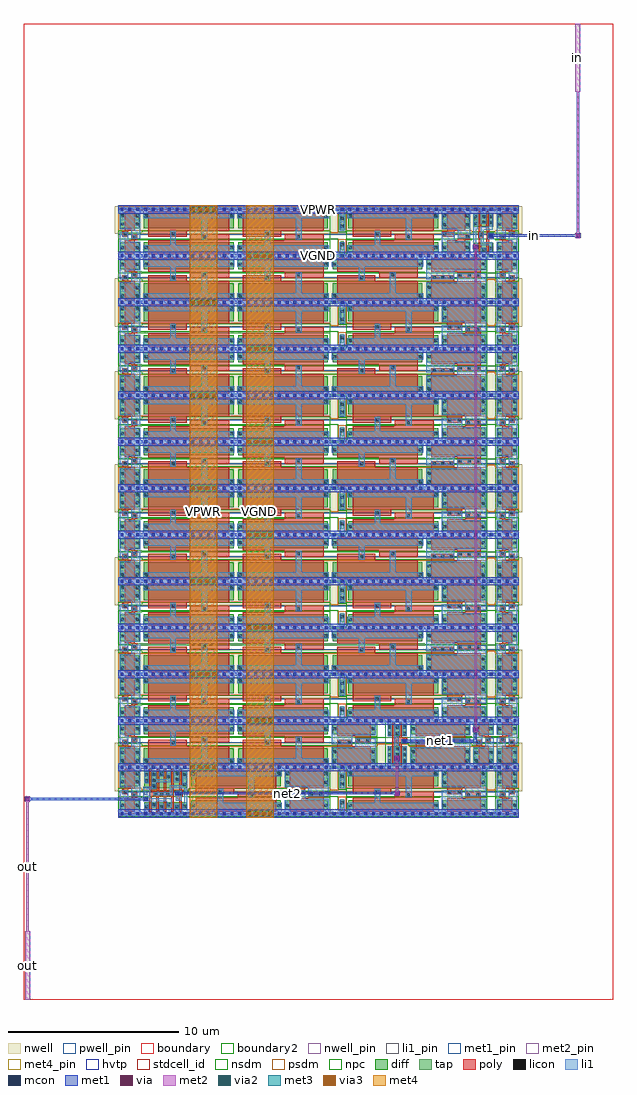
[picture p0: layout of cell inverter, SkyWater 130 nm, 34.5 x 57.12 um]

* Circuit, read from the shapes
.subckt inverter VGND VPWR in net1 net2 out
XM1 VGND VPWR VGND VGND sky130_fd_pr__nfet_01v8 w=0.55 l=0.59 m=27
XM2 VGND VPWR VGND VGND sky130_fd_pr__nfet_01v8 w=0.55 l=4.73 m=37
XM3 out n1 VGND VGND sky130_fd_pr__nfet_01v8 w=0.42 l=0.15 m=4
XM4 n1 net2 VGND VGND sky130_fd_pr__nfet_01v8 w=0.42 l=0.15
XM5 VGND VPWR VGND VGND sky130_fd_pr__nfet_01v8 w=0.55 l=1.97 m=8
XM6 net2 net1 VGND VGND sky130_fd_pr__nfet_01v8 w=0.65 l=0.15 m=2
XM7 VGND VPWR VGND VGND sky130_fd_pr__nfet_01v8 w=0.55 l=2.89 m=6
XM8 VGND VPWR VGND VGND sky130_fd_pr__nfet_01v8 w=0.55 l=1.05
XM9 VGND n2 net1 VGND sky130_fd_pr__nfet_01v8 w=0.52 l=0.15
XM10 n2 in VGND VGND sky130_fd_pr__nfet_01v8 w=0.52 l=0.15
XM11 VPWR VGND VPWR VPWR sky130_fd_pr__pfet_01v8_hvt w=0.87 l=0.59 m=27
XM12 VPWR VGND VPWR VPWR sky130_fd_pr__pfet_01v8_hvt w=0.87 l=4.73 m=37
XM13 out n1 VPWR VPWR sky130_fd_pr__pfet_01v8_hvt w=1 l=0.15 m=4
XM14 n1 net2 VPWR VPWR sky130_fd_pr__pfet_01v8_hvt w=1 l=0.15
XM15 VPWR VGND VPWR VPWR sky130_fd_pr__pfet_01v8_hvt w=0.87 l=1.97 m=8
XM16 net2 net1 VPWR VPWR sky130_fd_pr__pfet_01v8_hvt w=1 l=0.15 m=2
XM17 VPWR VGND VPWR VPWR sky130_fd_pr__pfet_01v8_hvt w=0.87 l=2.89 m=6
XM18 VPWR VGND VPWR VPWR sky130_fd_pr__pfet_01v8_hvt w=0.87 l=1.05
XM19 VPWR n2 net1 VPWR sky130_fd_pr__pfet_01v8_hvt w=0.79 l=0.15
XM20 n2 in VPWR VPWR sky130_fd_pr__pfet_01v8_hvt w=0.79 l=0.15
.ends

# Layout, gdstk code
from math import pi, radians
import gdstk
lib = gdstk.Library(unit=1e-6, precision=1e-09)
def R(c, l, rs):  # rectangles x0, y0, x1, y1
    for r in rs: c.add(gdstk.rectangle(r[:2], r[2:], *l))
def A(c, l, x, y, w, h, nx, ny, dx, dy):  # array of equal rectangles
    R(c, l, [(x+i*dx, y+j*dy, x+i*dx+w, y+j*dy+h) for i in range(nx) for j in range(ny)])
def P(c, l, *ps):  # polygons
    for p in ps: c.add(gdstk.Polygon(p, *l))
nwell_pin = (64, 16)
nwell = (64, 20)
diff = (65, 20)
tap = (65, 44)
poly = (66, 20)
licon = (66, 44)
li1_pin = (67, 16)
li1 = (67, 20)
mcon = (67, 44)
met1_pin = (68, 16)
met1 = (68, 20)
via = (68, 44)
met2_pin = (69, 16)
met2 = (69, 20)
via2 = (69, 44)
met3 = (70, 20)
via3 = (70, 44)
met4_pin = (71, 16)
met4 = (71, 20)
hvtp = (78, 44)
stdcell_id = (81, 4)
nsdm = (93, 44)
psdm = (94, 20)
npc = (95, 20)
pwell_pin = (122, 16)
boundary = (235, 4)
boundary2 = (236, 0)

sky130_ef_sc_hd__decap_1 = lib.new_cell('sky130_ef_sc_hd__decap_12')
R(sky130_ef_sc_hd__decap_1, nwell_pin, [(0.145,2.635,0.315,2.805)])
R(sky130_ef_sc_hd__decap_1, nwell, [(-0.19,1.305,5.71,2.91)])
R(sky130_ef_sc_hd__decap_1, diff, [(0.135,0.235,5.385,0.785), (0.135,1.615,5.385,2.485)])
P(sky130_ef_sc_hd__decap_1, poly, [(5.125,2.615),(0.395,2.615),(0.395,1.125),(2.645,1.125),(2.645,1.485),(5.125,1.485)],
  [(5.125,1.275),(2.855,1.275),(2.855,0.915),(0.395,0.915),(0.395,0.105),(5.125,0.105)])
R(sky130_ef_sc_hd__decap_1, licon, [(0.175,0.39,0.345,0.56), (5.175,0.39,5.345,0.56), (3.575,1.025,3.745,1.195), (1.755,1.205,1.925,1.375), (0.175,2.255,0.345,2.425), (5.175,2.255,5.345,2.425)])
R(sky130_ef_sc_hd__decap_1, li1, [(0,-0.085,5.52,0.085), (0.085,0.085,5.43,0.63), (1.67,0.63,2.01,1.46), (3.49,0.95,3.84,2.2), (0.085,2.2,5.43,2.635), (0,2.635,5.52,2.805)])
A(sky130_ef_sc_hd__decap_1, mcon, 0.145, -0.085, 0.17, 0.17, 12, 2, 0.46, 2.72)
R(sky130_ef_sc_hd__decap_1, met1_pin, [(0.145,-0.085,0.315,0.085), (0.145,2.635,0.315,2.805)])
R(sky130_ef_sc_hd__decap_1, hvtp, [(0,1.25,5.52,2.72)])
R(sky130_ef_sc_hd__decap_1, stdcell_id, [(0,0,5.52,2.72)])
R(sky130_ef_sc_hd__decap_1, nsdm, [(0,-0.19,5.52,1.015)])
R(sky130_ef_sc_hd__decap_1, psdm, [(0,1.485,5.52,2.91)])
R(sky130_ef_sc_hd__decap_1, npc, [(0,0.925,5.52,1.475)])
R(sky130_ef_sc_hd__decap_1, pwell_pin, [(0.145,-0.085,0.315,0.085)])
R(sky130_ef_sc_hd__decap_1, boundary2, [(0,0,5.52,2.72)])
sky130_ef_sc_hd__decap_1.add(gdstk.FlexPath([(0,2.72),(5.52,2.72)], 0.48, ends="flush", simple_path=True, layer=68, datatype=20))  # met1
sky130_ef_sc_hd__decap_1.add(gdstk.FlexPath([(0,0),(5.52,0)], 0.48, ends="flush", simple_path=True, layer=68, datatype=20))  # met1
sky130_ef_sc_hd__decap_1.add(gdstk.Label('VGND', (0.23,0), layer=68, texttype=5))
sky130_ef_sc_hd__decap_1.add(gdstk.Label('VPWR', (0.23,2.72), layer=68, texttype=5))
sky130_ef_sc_hd__decap_1.add(gdstk.Label('VPB', (0.23,2.72), layer=64, texttype=5))
sky130_ef_sc_hd__decap_1.add(gdstk.Label('VNB', (0.23,0), layer=64, texttype=59))
sky130_ef_sc_hd__decap_1.add(gdstk.Label('decap_12', (0,0), layer=83, texttype=44))

sky130_fd_sc_hd__decap_3 = lib.new_cell('sky130_fd_sc_hd__decap_3')
R(sky130_fd_sc_hd__decap_3, nwell_pin, [(0.145,2.635,0.315,2.805)])
R(sky130_fd_sc_hd__decap_3, nwell, [(-0.19,1.305,1.57,2.91)])
R(sky130_fd_sc_hd__decap_3, diff, [(0.135,0.235,1.245,0.785), (0.135,1.615,1.245,2.485)])
P(sky130_fd_sc_hd__decap_3, poly, [(1.125,1.255),(0.795,1.255),(0.795,0.915),(0.395,0.915),(0.395,0.105),(0.985,0.105),(0.985,0.925),(1.125,0.925)],
  [(0.985,2.615),(0.395,2.615),(0.395,1.455),(0.255,1.455),(0.255,1.125),(0.585,1.125),(0.585,1.465),(0.985,1.465)])
R(sky130_fd_sc_hd__decap_3, licon, [(0.175,0.4,0.345,0.57), (1.035,0.4,1.205,0.57), (0.875,1.005,1.045,1.175), (0.335,1.205,0.505,1.375), (0.175,1.78,0.345,1.95), (1.035,1.78,1.205,1.95), (0.175,2.255,0.345,2.425), (1.035,2.255,1.205,2.425)])
P(sky130_fd_sc_hd__decap_3, li1, [(1.38,2.805),(0,2.805),(0,2.635),(0.085,2.635),(0.085,1.545),(0.775,1.545),(0.775,1.005),(1.295,1.005),(1.295,2.635),(1.38,2.635)],
  [(1.38,0.085),(1.295,0.085),(1.295,0.835),(0.605,0.835),(0.605,1.375),(0.085,1.375),(0.085,0.085),(0,0.085),(0,-0.085),(1.38,-0.085)])
A(sky130_fd_sc_hd__decap_3, mcon, 0.145, -0.085, 0.17, 0.17, 3, 2, 0.46, 2.72)
R(sky130_fd_sc_hd__decap_3, met1_pin, [(0.145,-0.085,0.315,0.085), (0.145,2.635,0.315,2.805)])
R(sky130_fd_sc_hd__decap_3, hvtp, [(0,1.25,1.38,2.72)])
R(sky130_fd_sc_hd__decap_3, stdcell_id, [(0,0,1.38,2.72)])
R(sky130_fd_sc_hd__decap_3, nsdm, [(0,-0.19,1.38,1.015)])
R(sky130_fd_sc_hd__decap_3, psdm, [(0,1.485,1.38,2.91)])
P(sky130_fd_sc_hd__decap_3, npc, [(1.38,1.345),(0.605,1.345),(0.605,1.475),(0,1.475),(0,0.975),(0.775,0.975),(0.775,0.905),(1.38,0.905)])
R(sky130_fd_sc_hd__decap_3, pwell_pin, [(0.145,-0.085,0.315,0.085)])
R(sky130_fd_sc_hd__decap_3, boundary2, [(0,0,1.38,2.72)])
sky130_fd_sc_hd__decap_3.add(gdstk.FlexPath([(0,2.72),(1.38,2.72)], 0.48, ends="flush", simple_path=True, layer=68, datatype=20))  # met1
sky130_fd_sc_hd__decap_3.add(gdstk.FlexPath([(0,0),(1.38,0)], 0.48, ends="flush", simple_path=True, layer=68, datatype=20))  # met1
sky130_fd_sc_hd__decap_3.add(gdstk.Label('VPWR', (0.23,2.72), layer=68, texttype=5))
sky130_fd_sc_hd__decap_3.add(gdstk.Label('VGND', (0.23,0), layer=68, texttype=5))
sky130_fd_sc_hd__decap_3.add(gdstk.Label('VPB', (0.23,2.72), layer=64, texttype=5))
sky130_fd_sc_hd__decap_3.add(gdstk.Label('VNB', (0.23,0), layer=64, texttype=59))
sky130_fd_sc_hd__decap_3.add(gdstk.Label('decap_3', (0,0), layer=83, texttype=44))

sky130_fd_sc_hd__clkbuf_ = lib.new_cell('sky130_fd_sc_hd__clkbuf_4')
R(sky130_fd_sc_hd__clkbuf_, nwell_pin, [(0.145,2.635,0.315,2.805)])
R(sky130_fd_sc_hd__clkbuf_, nwell, [(-0.19,1.305,2.95,2.91)])
R(sky130_fd_sc_hd__clkbuf_, diff, [(0.135,0.235,2.615,0.655), (0.135,1.485,2.62,2.485)])
P(sky130_fd_sc_hd__clkbuf_, poly, [(2.325,1.185),(2.32,1.185),(2.32,2.615),(2.17,2.615),(2.17,1.295),(1.89,1.295),(1.89,2.615),(1.74,2.615),(1.74,1.295),(1.46,1.295),(1.46,2.615),(1.31,2.615),(1.31,1.295),(1.03,1.295),(1.03,2.615),(0.88,2.615),(0.88,1.05),(0.885,1.05),(0.885,0.105),(1.035,0.105),(1.035,1.02),(1.315,1.02),(1.315,0.105),(1.465,0.105),(1.465,1.02),(1.745,1.02),(1.745,0.105),(1.895,0.105),(1.895,1.02),(2.175,1.02),(2.175,0.105),(2.325,0.105)],
  [(0.645,1.325),(0.55,1.325),(0.55,2.615),(0.4,2.615),(0.4,1.325),(0.345,1.325),(0.345,0.995),(0.4,0.995),(0.4,0.105),(0.55,0.105),(0.55,0.995),(0.645,0.995)])
A(sky130_fd_sc_hd__clkbuf_, licon, 1.155, 1.075, 0.17, 0.17, 3, 1, 0.34, 0)
A(sky130_fd_sc_hd__clkbuf_, licon, 1.945, 1.535, 0.17, 0.17, 1, 3, 0, 0.34)
R(sky130_fd_sc_hd__clkbuf_, licon, [(0.605,0.315,0.775,0.485), (1.52,0.315,1.69,0.485), (2.38,0.315,2.55,0.485), (0.175,0.335,0.345,0.505), (1.09,0.425,1.26,0.595), (1.95,0.425,2.12,0.595), (0.425,1.075,0.595,1.245), (0.175,1.605,0.345,1.775), (2.375,1.845,2.545,2.015), (0.605,1.915,0.775,2.085), (1.085,2.08,1.255,2.25), (2.375,2.185,2.545,2.355), (0.175,2.215,0.345,2.385), (0.605,2.255,0.775,2.425), (1.515,2.255,1.685,2.425)])
R(sky130_fd_sc_hd__clkbuf_, li1_pin, [(0.605,0.765,0.775,0.935), (2.445,0.765,2.615,0.935), (0.605,1.105,0.775,1.275), (2.445,1.105,2.615,1.275), (1.985,1.445,2.155,1.615)])
R(sky130_fd_sc_hd__clkbuf_, li1, [(0.425,0.755,0.775,1.325)])
P(sky130_fd_sc_hd__clkbuf_, li1, [(2.76,0.085),(2.615,0.085),(2.615,0.565),(2.335,0.565),(2.335,0.085),(1.73,0.085),(1.73,0.565),(1.475,0.565),(1.475,0.085),(0.83,0.085),(0.83,0.565),(0.555,0.565),(0.555,0.085),(0,0.085),(0,-0.085),(2.76,-0.085)],
  [(2.66,1.585),(2.165,1.585),(2.165,2.465),(1.905,2.465),(1.905,2.005),(1.305,2.005),(1.305,2.465),(1.045,2.465),(1.045,1.835),(1.905,1.835),(1.905,1.415),(2.255,1.415),(2.255,0.905),(1.01,0.905),(1.01,0.345),(1.305,0.345),(1.305,0.735),(1.905,0.735),(1.905,0.345),(2.165,0.345),(2.165,0.735),(2.66,0.735)],
  [(2.085,1.245),(1.115,1.245),(1.115,1.665),(0.395,1.665),(0.395,2.465),(0.085,2.465),(0.085,0.255),(0.385,0.255),(0.385,0.585),(0.255,0.585),(0.255,1.495),(0.945,1.495),(0.945,1.075),(2.085,1.075)],
  [(2.76,2.805),(0,2.805),(0,2.635),(0.565,2.635),(0.565,1.835),(0.875,1.835),(0.875,2.635),(1.475,2.635),(1.475,2.175),(1.73,2.175),(1.73,2.635),(2.335,2.635),(2.335,1.765),(2.62,1.765),(2.62,2.635),(2.76,2.635)])
A(sky130_fd_sc_hd__clkbuf_, mcon, 0.145, -0.085, 0.17, 0.17, 6, 2, 0.46, 2.72)
R(sky130_fd_sc_hd__clkbuf_, met1_pin, [(0.145,-0.085,0.315,0.085), (0.145,2.635,0.315,2.805)])
R(sky130_fd_sc_hd__clkbuf_, hvtp, [(0,1.25,2.76,2.72)])
R(sky130_fd_sc_hd__clkbuf_, stdcell_id, [(0,0,2.76,2.72)])
R(sky130_fd_sc_hd__clkbuf_, nsdm, [(0,-0.19,2.76,1.015)])
R(sky130_fd_sc_hd__clkbuf_, psdm, [(0,1.355,2.76,2.91)])
R(sky130_fd_sc_hd__clkbuf_, npc, [(0,0.975,2.76,1.345)])
R(sky130_fd_sc_hd__clkbuf_, pwell_pin, [(0.145,-0.085,0.315,0.085)])
R(sky130_fd_sc_hd__clkbuf_, boundary2, [(0,0,2.76,2.72)])
sky130_fd_sc_hd__clkbuf_.add(gdstk.FlexPath([(0,0),(2.76,0)], 0.48, ends="flush", simple_path=True, layer=68, datatype=20))  # met1
sky130_fd_sc_hd__clkbuf_.add(gdstk.FlexPath([(0,2.72),(2.76,2.72)], 0.48, ends="flush", simple_path=True, layer=68, datatype=20))  # met1
sky130_fd_sc_hd__clkbuf_.add(gdstk.Label('X', (2.07,1.53), layer=67, texttype=5))
sky130_fd_sc_hd__clkbuf_.add(gdstk.Label('A', (0.69,0.85), layer=67, texttype=5))
sky130_fd_sc_hd__clkbuf_.add(gdstk.Label('X', (2.53,0.85), layer=67, texttype=5))
sky130_fd_sc_hd__clkbuf_.add(gdstk.Label('A', (0.69,1.19), layer=67, texttype=5))
sky130_fd_sc_hd__clkbuf_.add(gdstk.Label('X', (2.53,1.19), layer=67, texttype=5))
sky130_fd_sc_hd__clkbuf_.add(gdstk.Label('VGND', (0.23,0), layer=68, texttype=5))
sky130_fd_sc_hd__clkbuf_.add(gdstk.Label('VPWR', (0.23,2.72), layer=68, texttype=5))
sky130_fd_sc_hd__clkbuf_.add(gdstk.Label('VPB', (0.23,2.72), layer=64, texttype=5))
sky130_fd_sc_hd__clkbuf_.add(gdstk.Label('VNB', (0.23,0), layer=64, texttype=59))
sky130_fd_sc_hd__clkbuf_.add(gdstk.Label('clkbuf_4', (0,0), layer=83, texttype=44))

sky130_fd_sc_hd__decap_6 = lib.new_cell('sky130_fd_sc_hd__decap_6')
R(sky130_fd_sc_hd__decap_6, nwell_pin, [(0.145,2.635,0.315,2.805)])
R(sky130_fd_sc_hd__decap_6, nwell, [(-0.19,1.305,2.95,2.91)])
R(sky130_fd_sc_hd__decap_6, diff, [(0.135,0.235,2.625,0.785), (0.135,1.615,2.625,2.485)])
P(sky130_fd_sc_hd__decap_6, poly, [(2.365,2.615),(0.395,2.615),(0.395,1.125),(1.275,1.125),(1.275,1.485),(2.365,1.485)],
  [(2.365,1.275),(1.485,1.275),(1.485,0.915),(0.395,0.915),(0.395,0.105),(2.365,0.105)])
R(sky130_fd_sc_hd__decap_6, licon, [(0.175,0.39,0.345,0.56), (2.415,0.39,2.585,0.56), (1.565,1.025,1.735,1.195), (2.115,1.025,2.285,1.195), (0.475,1.205,0.645,1.375), (1.025,1.205,1.195,1.375), (0.175,1.745,0.345,1.915), (2.415,1.745,2.585,1.915), (0.175,2.255,0.345,2.425), (2.415,2.255,2.585,2.425)])
P(sky130_fd_sc_hd__decap_6, li1, [(2.76,0.085),(2.675,0.085),(2.675,0.855),(1.295,0.855),(1.295,1.375),(0.085,1.375),(0.085,0.085),(0,0.085),(0,-0.085),(2.76,-0.085)],
  [(2.76,2.805),(0,2.805),(0,2.635),(0.085,2.635),(0.085,1.545),(1.465,1.545),(1.465,1.025),(2.675,1.025),(2.675,2.635),(2.76,2.635)])
A(sky130_fd_sc_hd__decap_6, mcon, 0.145, -0.085, 0.17, 0.17, 6, 2, 0.46, 2.72)
R(sky130_fd_sc_hd__decap_6, met1_pin, [(0.145,-0.085,0.315,0.085), (0.145,2.635,0.315,2.805)])
R(sky130_fd_sc_hd__decap_6, hvtp, [(0,1.25,2.76,2.72)])
R(sky130_fd_sc_hd__decap_6, stdcell_id, [(0,0,2.76,2.72)])
R(sky130_fd_sc_hd__decap_6, nsdm, [(0,-0.19,2.76,1.015)])
R(sky130_fd_sc_hd__decap_6, psdm, [(0,1.485,2.76,2.91)])
P(sky130_fd_sc_hd__decap_6, npc, [(2.76,1.345),(1.295,1.345),(1.295,1.475),(0,1.475),(0,0.975),(1.465,0.975),(1.465,0.925),(2.76,0.925)])
R(sky130_fd_sc_hd__decap_6, pwell_pin, [(0.145,-0.085,0.315,0.085)])
R(sky130_fd_sc_hd__decap_6, boundary2, [(0,0,2.76,2.72)])
sky130_fd_sc_hd__decap_6.add(gdstk.FlexPath([(0,2.72),(2.76,2.72)], 0.48, ends="flush", simple_path=True, layer=68, datatype=20))  # met1
sky130_fd_sc_hd__decap_6.add(gdstk.FlexPath([(0,0),(2.76,0)], 0.48, ends="flush", simple_path=True, layer=68, datatype=20))  # met1
sky130_fd_sc_hd__decap_6.add(gdstk.Label('VPWR', (0.23,2.72), layer=68, texttype=5))
sky130_fd_sc_hd__decap_6.add(gdstk.Label('VGND', (0.23,0), layer=68, texttype=5))
sky130_fd_sc_hd__decap_6.add(gdstk.Label('VPB', (0.23,2.72), layer=64, texttype=5))
sky130_fd_sc_hd__decap_6.add(gdstk.Label('VNB', (0.23,0), layer=64, texttype=59))
sky130_fd_sc_hd__decap_6.add(gdstk.Label('decap_6', (0,0), layer=83, texttype=44))

sky130_fd_sc_hd__fill_1 = lib.new_cell('sky130_fd_sc_hd__fill_1')
R(sky130_fd_sc_hd__fill_1, nwell_pin, [(0.155,2.67,0.255,2.755)])
R(sky130_fd_sc_hd__fill_1, nwell, [(-0.19,1.305,0.65,2.91)])
R(sky130_fd_sc_hd__fill_1, mcon, [(0.145,-0.085,0.315,0.085), (0.145,2.635,0.315,2.805)])
R(sky130_fd_sc_hd__fill_1, met1_pin, [(0.11,-0.065,0.29,0.08), (0.11,2.635,0.29,2.785)])
R(sky130_fd_sc_hd__fill_1, hvtp, [(0,1.25,0.46,2.72)])
R(sky130_fd_sc_hd__fill_1, stdcell_id, [(0,0,0.46,2.72)])
R(sky130_fd_sc_hd__fill_1, nsdm, [(0,-0.19,0.46,1.015)])
R(sky130_fd_sc_hd__fill_1, psdm, [(0,1.355,0.46,2.91)])
R(sky130_fd_sc_hd__fill_1, pwell_pin, [(0.14,-0.055,0.26,0.055)])
sky130_fd_sc_hd__fill_1.add(gdstk.FlexPath([(0,0),(0.46,0)], 0.17, ends="flush", simple_path=True, layer=67, datatype=20))  # li1
sky130_fd_sc_hd__fill_1.add(gdstk.FlexPath([(0,2.72),(0.46,2.72)], 0.17, ends="flush", simple_path=True, layer=67, datatype=20))  # li1
sky130_fd_sc_hd__fill_1.add(gdstk.FlexPath([(0,2.72),(0.46,2.72)], 0.48, ends="flush", simple_path=True, layer=68, datatype=20))  # met1
sky130_fd_sc_hd__fill_1.add(gdstk.FlexPath([(0,0),(0.46,0)], 0.48, ends="flush", simple_path=True, layer=68, datatype=20))  # met1
sky130_fd_sc_hd__fill_1.add(gdstk.Label('VPWR', (0.205,2.72), layer=68, texttype=5))
sky130_fd_sc_hd__fill_1.add(gdstk.Label('VGND', (0.205,0), layer=68, texttype=5))
sky130_fd_sc_hd__fill_1.add(gdstk.Label('VPB', (0.23,2.72), layer=64, texttype=5))
sky130_fd_sc_hd__fill_1.add(gdstk.Label('VNB', (0.23,0), layer=64, texttype=59))
sky130_fd_sc_hd__fill_1.add(gdstk.Label('fill_1', (0,0), layer=83, texttype=44))

sky130_fd_sc_hd__decap_8 = lib.new_cell('sky130_fd_sc_hd__decap_8')
R(sky130_fd_sc_hd__decap_8, nwell_pin, [(0.145,2.635,0.315,2.805)])
R(sky130_fd_sc_hd__decap_8, nwell, [(-0.19,1.305,3.87,2.91)])
R(sky130_fd_sc_hd__decap_8, diff, [(0.135,0.235,3.545,0.785), (0.135,1.615,3.545,2.485)])
P(sky130_fd_sc_hd__decap_8, poly, [(3.285,2.615),(0.395,2.615),(0.395,1.125),(1.715,1.125),(1.715,1.485),(3.285,1.485)],
  [(3.285,1.275),(1.925,1.275),(1.925,0.915),(0.395,0.915),(0.395,0.105),(3.285,0.105)])
A(sky130_fd_sc_hd__decap_8, licon, 2.005, 1.025, 0.17, 0.17, 3, 1, 0.515, 0)
A(sky130_fd_sc_hd__decap_8, licon, 0.475, 1.205, 0.17, 0.17, 3, 1, 0.495, 0)
R(sky130_fd_sc_hd__decap_8, licon, [(0.175,0.39,0.345,0.56), (3.335,0.39,3.505,0.56), (0.175,1.745,0.345,1.915), (3.335,1.745,3.505,1.915), (0.175,2.255,0.345,2.425), (3.335,2.255,3.505,2.425)])
P(sky130_fd_sc_hd__decap_8, li1, [(3.68,0.085),(3.595,0.085),(3.595,0.855),(1.735,0.855),(1.735,1.375),(0.085,1.375),(0.085,0.085),(0,0.085),(0,-0.085),(3.68,-0.085)],
  [(3.68,2.805),(0,2.805),(0,2.635),(0.085,2.635),(0.085,1.545),(1.905,1.545),(1.905,1.025),(3.595,1.025),(3.595,2.635),(3.68,2.635)])
A(sky130_fd_sc_hd__decap_8, mcon, 0.145, -0.085, 0.17, 0.17, 8, 2, 0.46, 2.72)
R(sky130_fd_sc_hd__decap_8, met1_pin, [(0.145,-0.085,0.315,0.085), (0.145,2.635,0.315,2.805)])
R(sky130_fd_sc_hd__decap_8, hvtp, [(0,1.25,3.68,2.72)])
R(sky130_fd_sc_hd__decap_8, stdcell_id, [(0,0,3.68,2.72)])
R(sky130_fd_sc_hd__decap_8, nsdm, [(0,-0.19,3.68,1.015)])
R(sky130_fd_sc_hd__decap_8, psdm, [(0,1.485,3.68,2.91)])
P(sky130_fd_sc_hd__decap_8, npc, [(3.68,1.345),(1.735,1.345),(1.735,1.475),(0,1.475),(0,0.975),(1.905,0.975),(1.905,0.925),(3.68,0.925)])
R(sky130_fd_sc_hd__decap_8, pwell_pin, [(0.145,-0.085,0.315,0.085)])
R(sky130_fd_sc_hd__decap_8, boundary2, [(0,0,3.68,2.72)])
sky130_fd_sc_hd__decap_8.add(gdstk.FlexPath([(0,2.72),(3.68,2.72)], 0.48, ends="flush", simple_path=True, layer=68, datatype=20))  # met1
sky130_fd_sc_hd__decap_8.add(gdstk.FlexPath([(0,0),(3.68,0)], 0.48, ends="flush", simple_path=True, layer=68, datatype=20))  # met1
sky130_fd_sc_hd__decap_8.add(gdstk.Label('VPWR', (0.23,2.72), layer=68, texttype=5))
sky130_fd_sc_hd__decap_8.add(gdstk.Label('VGND', (0.23,0), layer=68, texttype=5))
sky130_fd_sc_hd__decap_8.add(gdstk.Label('VPB', (0.23,2.72), layer=64, texttype=5))
sky130_fd_sc_hd__decap_8.add(gdstk.Label('VNB', (0.23,0), layer=64, texttype=59))
sky130_fd_sc_hd__decap_8.add(gdstk.Label('decap_8', (0,0), layer=83, texttype=44))

sky130_fd_sc_hd__tapvpwr = lib.new_cell('sky130_fd_sc_hd__tapvpwrvgnd_1')
R(sky130_fd_sc_hd__tapvpwr, nwell, [(-0.19,1.305,0.65,2.91)])
R(sky130_fd_sc_hd__tapvpwr, tap, [(0.145,0.32,0.315,0.845), (0.145,1.525,0.315,2.4)])
R(sky130_fd_sc_hd__tapvpwr, licon, [(0.145,0.555,0.315,0.725), (0.145,1.645,0.315,1.815), (0.145,2.11,0.315,2.28)])
R(sky130_fd_sc_hd__tapvpwr, li1, [(0,-0.085,0.46,0.085), (0.085,0,0.375,0.81), (0.085,1.47,0.375,2.72), (0,2.635,0.46,2.805)])
R(sky130_fd_sc_hd__tapvpwr, mcon, [(0.145,-0.085,0.315,0.085), (0.145,2.635,0.315,2.805)])
R(sky130_fd_sc_hd__tapvpwr, met1_pin, [(0.105,-0.09,0.36,0.1), (0.11,2.62,0.375,2.765)])
R(sky130_fd_sc_hd__tapvpwr, met1, [(0,-0.24,0.46,0.24), (0,2.48,0.46,2.96)])
R(sky130_fd_sc_hd__tapvpwr, hvtp, [(0,1.25,0.46,2.72)])
R(sky130_fd_sc_hd__tapvpwr, stdcell_id, [(0,0,0.46,2.72)])
R(sky130_fd_sc_hd__tapvpwr, nsdm, [(0,-0.19,0.46,0.19), (0,1.395,0.46,2.53)])
R(sky130_fd_sc_hd__tapvpwr, psdm, [(0,0.19,0.46,0.975), (0,2.53,0.46,2.91)])
sky130_fd_sc_hd__tapvpwr.add(gdstk.Label('VPWR', (0.23,2.72), layer=68, texttype=5))
sky130_fd_sc_hd__tapvpwr.add(gdstk.Label('VGND', (0.23,0), layer=68, texttype=5))
sky130_fd_sc_hd__tapvpwr.add(gdstk.Label('tapvpwrvgnd_1', (0,0), layer=83, texttype=44))

sky130_fd_sc_hd__inv_2 = lib.new_cell('sky130_fd_sc_hd__inv_2')
R(sky130_fd_sc_hd__inv_2, nwell_pin, [(0.145,2.635,0.315,2.805)])
R(sky130_fd_sc_hd__inv_2, nwell, [(-0.19,1.305,1.57,2.91)])
R(sky130_fd_sc_hd__inv_2, diff, [(0.145,0.235,1.235,0.885), (0.145,1.485,1.235,2.485)])
P(sky130_fd_sc_hd__inv_2, poly, [(0.975,2.615),(0.825,2.615),(0.825,1.325),(0.555,1.325),(0.555,2.615),(0.405,2.615),(0.405,1.325),(0.105,1.325),(0.105,0.995),(0.405,0.995),(0.405,0.105),(0.555,0.105),(0.555,0.995),(0.825,0.995),(0.825,0.105),(0.975,0.105)])
A(sky130_fd_sc_hd__inv_2, licon, 0.185, 0.295, 0.17, 0.17, 3, 2, 0.42, 0.36)
A(sky130_fd_sc_hd__inv_2, licon, 0.185, 1.575, 0.17, 0.17, 3, 3, 0.42, 0.34)
R(sky130_fd_sc_hd__inv_2, licon, [(0.185,1.075,0.355,1.245)])
A(sky130_fd_sc_hd__inv_2, li1_pin, 0.605, 0.765, 0.17, 0.17, 1, 3, 0, 0.34)
R(sky130_fd_sc_hd__inv_2, li1_pin, [(0.145,1.105,0.315,1.275)])
R(sky130_fd_sc_hd__inv_2, li1, [(0.105,1.075,0.435,1.325)])
P(sky130_fd_sc_hd__inv_2, li1, [(1.38,2.805),(0,2.805),(0,2.635),(0.125,2.635),(0.125,1.495),(0.355,1.495),(0.355,2.635),(1.025,2.635),(1.025,1.495),(1.235,1.495),(1.235,2.635),(1.38,2.635)],
  [(0.855,2.465),(0.525,2.465),(0.525,1.485),(0.605,1.485),(0.605,0.885),(0.525,0.885),(0.525,0.255),(0.855,0.255)],
  [(1.38,0.085),(1.235,0.085),(1.235,0.905),(1.025,0.905),(1.025,0.085),(0.355,0.085),(0.355,0.905),(0.125,0.905),(0.125,0.085),(0,0.085),(0,-0.085),(1.38,-0.085)])
A(sky130_fd_sc_hd__inv_2, mcon, 0.145, -0.085, 0.17, 0.17, 3, 2, 0.46, 2.72)
R(sky130_fd_sc_hd__inv_2, met1_pin, [(0.145,-0.085,0.315,0.085), (0.145,2.635,0.315,2.805)])
R(sky130_fd_sc_hd__inv_2, hvtp, [(0,1.25,1.38,2.72)])
R(sky130_fd_sc_hd__inv_2, stdcell_id, [(0,0,1.38,2.72)])
R(sky130_fd_sc_hd__inv_2, nsdm, [(0,-0.19,1.38,1.015)])
R(sky130_fd_sc_hd__inv_2, psdm, [(0,1.355,1.38,2.91)])
R(sky130_fd_sc_hd__inv_2, npc, [(0,0.975,1.38,1.345)])
R(sky130_fd_sc_hd__inv_2, pwell_pin, [(0.145,-0.085,0.315,0.085)])
R(sky130_fd_sc_hd__inv_2, boundary2, [(0,0,1.38,2.72)])
sky130_fd_sc_hd__inv_2.add(gdstk.FlexPath([(0,2.72),(1.38,2.72)], 0.48, ends="flush", simple_path=True, layer=68, datatype=20))  # met1
sky130_fd_sc_hd__inv_2.add(gdstk.FlexPath([(0,0),(1.38,0)], 0.48, ends="flush", simple_path=True, layer=68, datatype=20))  # met1
sky130_fd_sc_hd__inv_2.add(gdstk.Label('A', (0.23,1.19), layer=67, texttype=5))
sky130_fd_sc_hd__inv_2.add(gdstk.Label('Y', (0.69,0.85), layer=67, texttype=5))
sky130_fd_sc_hd__inv_2.add(gdstk.Label('Y', (0.69,1.53), layer=67, texttype=5))
sky130_fd_sc_hd__inv_2.add(gdstk.Label('Y', (0.69,1.19), layer=67, texttype=5))
sky130_fd_sc_hd__inv_2.add(gdstk.Label('VPB', (0.23,2.72), layer=64, texttype=5))
sky130_fd_sc_hd__inv_2.add(gdstk.Label('VNB', (0.23,0), layer=64, texttype=59))
sky130_fd_sc_hd__inv_2.add(gdstk.Label('VPWR', (0.23,2.72), layer=68, texttype=5))
sky130_fd_sc_hd__inv_2.add(gdstk.Label('VGND', (0.23,0), layer=68, texttype=5))
sky130_fd_sc_hd__inv_2.add(gdstk.Label('inv_2', (0,0), layer=83, texttype=44))

sky130_fd_sc_hd__decap_4 = lib.new_cell('sky130_fd_sc_hd__decap_4')
R(sky130_fd_sc_hd__decap_4, nwell_pin, [(0.145,2.635,0.315,2.805)])
R(sky130_fd_sc_hd__decap_4, nwell, [(-0.19,1.305,2.03,2.91)])
R(sky130_fd_sc_hd__decap_4, diff, [(0.135,0.235,1.705,0.785), (0.135,1.615,1.705,2.485)])
P(sky130_fd_sc_hd__decap_4, poly, [(1.445,2.615),(0.395,2.615),(0.395,1.455),(0.105,1.455),(0.105,1.125),(0.815,1.125),(0.815,1.485),(1.445,1.485)],
  [(1.735,1.275),(1.025,1.275),(1.025,0.915),(0.395,0.915),(0.395,0.105),(1.445,0.105),(1.445,0.945),(1.735,0.945)])
R(sky130_fd_sc_hd__decap_4, licon, [(0.175,0.425,0.345,0.595), (1.495,0.425,1.665,0.595), (1.485,1.025,1.655,1.195), (0.185,1.205,0.355,1.375), (0.175,1.745,0.345,1.915), (1.495,1.745,1.665,1.915), (0.175,2.255,0.345,2.425), (1.495,2.255,1.665,2.425)])
P(sky130_fd_sc_hd__decap_4, li1, [(1.84,2.805),(0,2.805),(0,2.635),(0.085,2.635),(0.085,1.545),(1.005,1.545),(1.005,1.025),(1.755,1.025),(1.755,2.635),(1.84,2.635)],
  [(1.84,0.085),(1.755,0.085),(1.755,0.855),(0.835,0.855),(0.835,1.375),(0.085,1.375),(0.085,0.085),(0,0.085),(0,-0.085),(1.84,-0.085)])
A(sky130_fd_sc_hd__decap_4, mcon, 0.145, -0.085, 0.17, 0.17, 4, 2, 0.46, 2.72)
R(sky130_fd_sc_hd__decap_4, met1_pin, [(0.145,-0.085,0.315,0.085), (0.145,2.635,0.315,2.805)])
R(sky130_fd_sc_hd__decap_4, hvtp, [(0,1.25,1.84,2.72)])
R(sky130_fd_sc_hd__decap_4, stdcell_id, [(0,0,1.84,2.72)])
R(sky130_fd_sc_hd__decap_4, nsdm, [(0,-0.19,1.84,1.015)])
R(sky130_fd_sc_hd__decap_4, psdm, [(0,1.485,1.84,2.91)])
P(sky130_fd_sc_hd__decap_4, npc, [(1.84,1.345),(0.455,1.345),(0.455,1.475),(0,1.475),(0,0.975),(1.385,0.975),(1.385,0.925),(1.84,0.925)])
R(sky130_fd_sc_hd__decap_4, pwell_pin, [(0.145,-0.085,0.315,0.085)])
R(sky130_fd_sc_hd__decap_4, boundary2, [(0,0,1.84,2.72)])
sky130_fd_sc_hd__decap_4.add(gdstk.FlexPath([(0,2.72),(1.84,2.72)], 0.48, ends="flush", simple_path=True, layer=68, datatype=20))  # met1
sky130_fd_sc_hd__decap_4.add(gdstk.FlexPath([(0,0),(1.84,0)], 0.48, ends="flush", simple_path=True, layer=68, datatype=20))  # met1
sky130_fd_sc_hd__decap_4.add(gdstk.Label('VGND', (0.23,0), layer=68, texttype=5))
sky130_fd_sc_hd__decap_4.add(gdstk.Label('VPWR', (0.23,2.72), layer=68, texttype=5))
sky130_fd_sc_hd__decap_4.add(gdstk.Label('VPB', (0.23,2.72), layer=64, texttype=5))
sky130_fd_sc_hd__decap_4.add(gdstk.Label('VNB', (0.23,0), layer=64, texttype=59))
sky130_fd_sc_hd__decap_4.add(gdstk.Label('decap_4', (0,0), layer=83, texttype=44))

sky130_fd_sc_hd__buf_1 = lib.new_cell('sky130_fd_sc_hd__buf_1')
R(sky130_fd_sc_hd__buf_1, nwell_pin, [(0.145,2.635,0.315,2.805)])
R(sky130_fd_sc_hd__buf_1, nwell, [(-0.19,1.305,1.57,2.91)])
R(sky130_fd_sc_hd__buf_1, diff, [(0.135,0.235,1.245,0.755), (0.135,1.695,1.245,2.485)])
P(sky130_fd_sc_hd__buf_1, poly, [(0.995,1.39),(0.985,1.39),(0.985,2.615),(0.835,2.615),(0.835,1.39),(0.725,1.39),(0.725,1.06),(0.835,1.06),(0.835,0.105),(0.985,0.105),(0.985,1.06),(0.995,1.06)],
  [(0.545,0.95),(0.515,0.95),(0.515,1.5),(0.545,1.5),(0.545,2.615),(0.395,2.615),(0.395,1.62),(0.365,1.62),(0.365,1.325),(0.135,1.325),(0.135,0.995),(0.365,0.995),(0.365,0.83),(0.395,0.83),(0.395,0.105),(0.545,0.105)])
A(sky130_fd_sc_hd__buf_1, licon, 0.175, 2.215, 0.17, 0.17, 3, 1, 0.43, 0)
R(sky130_fd_sc_hd__buf_1, licon, [(0.605,0.295,0.775,0.465), (0.175,0.36,0.345,0.53), (1.035,0.445,1.205,0.615), (0.185,1.075,0.355,1.245), (0.775,1.14,0.945,1.31), (1.035,1.81,1.205,1.98), (0.175,1.875,0.345,2.045), (0.605,1.875,0.775,2.045)])
R(sky130_fd_sc_hd__buf_1, li1_pin, [(0.155,-0.085,0.325,0.085), (1.055,0.425,1.225,0.595), (0.145,1.105,0.315,1.275), (1.055,1.785,1.225,1.955), (1.055,2.125,1.225,2.295), (0.145,2.635,0.315,2.805)])
R(sky130_fd_sc_hd__buf_1, li1, [(0.105,0.985,0.445,1.355)])
P(sky130_fd_sc_hd__buf_1, li1, [(1.295,2.465),(1.025,2.465),(1.025,1.56),(1.115,1.56),(1.115,0.76),(1.035,0.76),(1.035,0.255),(1.295,0.255)],
  [(1.38,0.085),(0.855,0.085),(0.855,0.465),(0.525,0.465),(0.525,0.085),(0,0.085),(0,-0.085),(1.38,-0.085)],
  [(0.945,1.39),(0.84,1.39),(0.84,1.705),(0.345,1.705),(0.345,2.465),(0.165,2.465),(0.165,1.535),(0.67,1.535),(0.67,0.805),(0.175,0.805),(0.175,0.255),(0.345,0.255),(0.345,0.635),(0.84,0.635),(0.84,1.06),(0.945,1.06)],
  [(1.38,2.805),(0,2.805),(0,2.635),(0.525,2.635),(0.525,1.875),(0.855,1.875),(0.855,2.635),(1.38,2.635)])
A(sky130_fd_sc_hd__buf_1, mcon, 0.145, -0.085, 0.17, 0.17, 3, 2, 0.46, 2.72)
R(sky130_fd_sc_hd__buf_1, met1_pin, [(0.155,-0.085,0.325,0.085), (0.145,2.635,0.315,2.805)])
R(sky130_fd_sc_hd__buf_1, hvtp, [(0,1.25,1.38,2.72)])
R(sky130_fd_sc_hd__buf_1, stdcell_id, [(0,0,1.38,2.72)])
R(sky130_fd_sc_hd__buf_1, nsdm, [(0,-0.19,1.38,1.015)])
R(sky130_fd_sc_hd__buf_1, psdm, [(0,1.42,1.38,2.91)])
R(sky130_fd_sc_hd__buf_1, npc, [(0,0.975,1.38,1.41)])
R(sky130_fd_sc_hd__buf_1, pwell_pin, [(0.155,-0.085,0.325,0.085)])
R(sky130_fd_sc_hd__buf_1, boundary2, [(0,0,1.38,2.72)])
sky130_fd_sc_hd__buf_1.add(gdstk.FlexPath([(0,0),(1.38,0)], 0.48, ends="flush", simple_path=True, layer=68, datatype=20))  # met1
sky130_fd_sc_hd__buf_1.add(gdstk.FlexPath([(0,2.72),(1.38,2.72)], 0.48, ends="flush", simple_path=True, layer=68, datatype=20))  # met1
sky130_fd_sc_hd__buf_1.add(gdstk.Label('VGND', (0.23,0), layer=68, texttype=5))
sky130_fd_sc_hd__buf_1.add(gdstk.Label('VPWR', (0.23,2.72), layer=68, texttype=5))
sky130_fd_sc_hd__buf_1.add(gdstk.Label('VPWR', (0.23,2.72), layer=67, texttype=5))
sky130_fd_sc_hd__buf_1.add(gdstk.Label('VGND', (0.23,0), layer=67, texttype=5))
sky130_fd_sc_hd__buf_1.add(gdstk.Label('X', (1.14,0.51), layer=67, texttype=5))
sky130_fd_sc_hd__buf_1.add(gdstk.Label('X', (1.14,1.87), layer=67, texttype=5))
sky130_fd_sc_hd__buf_1.add(gdstk.Label('X', (1.14,2.21), layer=67, texttype=5))
sky130_fd_sc_hd__buf_1.add(gdstk.Label('A', (0.23,1.19), layer=67, texttype=5))
sky130_fd_sc_hd__buf_1.add(gdstk.Label('VPB', (0.23,2.72), layer=64, texttype=5))
sky130_fd_sc_hd__buf_1.add(gdstk.Label('VNB', (0.23,0), layer=64, texttype=59))
sky130_fd_sc_hd__buf_1.add(gdstk.Label('buf_1', (0,0), layer=83, texttype=44))

inverter = lib.new_cell('inverter')
R(inverter, li1, [(7.045,11.645,7.215,11.815), (8.885,11.985,9.055,12.155), (21.765,14.025,21.935,14.195), (22.225,15.045,22.395,15.215), (26.365,43.945,26.535,44.115), (27.285,44.625,27.455,44.795)])
R(inverter, mcon, [(7.045,11.645,7.215,11.815), (8.885,11.985,9.055,12.155), (21.765,14.025,21.935,14.195), (22.225,15.045,22.395,15.215), (26.365,43.945,26.535,44.115), (27.285,44.625,27.455,44.795)])
A(inverter, met1, 5.52, 10.64, 23.46, 0.48, 1, 14, 0, 2.72)
R(inverter, met1, [(0.07,11.6,0.39,11.66), (6.985,11.615,7.275,11.66), (0.07,11.66,7.275,11.8), (0.07,11.8,0.39,11.86), (6.985,11.8,7.275,11.845), (21.69,11.94,22.01,12), (8.825,11.955,9.115,12), (8.825,12,22.01,12.14), (8.825,12.14,9.115,12.185), (21.69,12.14,22.01,12.2), (21.69,13.98,22.01,14.24), (22.165,15.015,22.455,15.06), (22.165,15.06,26.52,15.2), (22.165,15.2,22.455,15.245), (26.38,15.2,26.52,15.68), (26.29,15.68,26.61,15.94), (26.29,43.9,26.61,44.16), (32.27,44.58,32.59,44.64), (27.225,44.595,27.515,44.64), (27.225,44.64,32.59,44.78), (27.225,44.78,27.515,44.825), (32.27,44.78,32.59,44.84)])
A(inverter, via, 13.105, 10.805, 0.15, 0.15, 5, 7, 0.32, 5.44)
A(inverter, via, 9.805, 13.525, 0.15, 0.15, 5, 7, 0.32, 5.44)
R(inverter, via, [(0.155,11.655,0.305,11.805), (21.775,11.995,21.925,12.145), (21.775,14.035,21.925,14.185), (26.375,15.735,26.525,15.885), (26.375,43.955,26.525,44.105), (32.355,44.635,32.505,44.785)])
R(inverter, met2_pin, [(0.09,0,0.37,4), (32.29,53.12,32.57,57.12)])
A(inverter, met2, 13.05, 10.695, 1.54, 0.37, 1, 7, 0, 5.44)
A(inverter, met2, 9.75, 13.415, 1.54, 0.37, 1, 7, 0, 5.44)
R(inverter, met2, [(0.09,0,0.37,4), (0.16,4,0.3,11.57), (0.1,11.57,0.36,11.89), (21.72,11.91,21.98,12.23), (21.78,12.23,21.92,13.95), (21.72,13.95,21.98,14.27), (26.32,15.65,26.58,15.97), (26.38,15.97,26.52,43.87), (26.32,43.87,26.58,44.19), (32.3,44.55,32.56,44.87), (32.36,44.87,32.5,53.12), (32.29,53.12,32.57,57.12)])
A(inverter, via2, 13.12, 10.78, 0.2, 0.2, 4, 7, 0.4, 5.44)
A(inverter, via2, 9.82, 13.5, 0.2, 0.2, 4, 7, 0.4, 5.44)
A(inverter, met3, 13.03, 10.715, 1.58, 0.33, 1, 7, 0, 5.44)
A(inverter, met3, 9.73, 13.435, 1.58, 0.33, 1, 7, 0, 5.44)
A(inverter, via3, 13.12, 10.78, 0.2, 0.2, 4, 7, 0.4, 5.44)
A(inverter, via3, 9.82, 13.5, 0.2, 0.2, 4, 7, 0.4, 5.44)
R(inverter, met4_pin, [(9.72,10.64,11.32,46.48), (13.02,10.64,14.62,46.48)])
R(inverter, met4, [(9.72,10.64,11.32,46.48), (13.02,10.64,14.62,46.48)])
R(inverter, boundary, [(0,0,34.5,57.12)])
inverter.add(gdstk.Reference(sky130_ef_sc_hd__decap_1, (9.66,10.88)))
inverter.add(gdstk.Reference(sky130_ef_sc_hd__decap_1, (6.9,16.32), x_reflection=True))
inverter.add(gdstk.Reference(sky130_fd_sc_hd__decap_3, (5.52,10.88)))
inverter.add(gdstk.Reference(sky130_fd_sc_hd__decap_3, (5.52,16.32), x_reflection=True))
inverter.add(gdstk.Reference(sky130_fd_sc_hd__clkbuf_, (9.66,10.88), rotation=pi, x_reflection=True))
inverter.add(gdstk.Reference(sky130_fd_sc_hd__decap_6, (15.18,10.88)))
inverter.add(gdstk.Reference(sky130_ef_sc_hd__decap_1, (12.42,16.32), x_reflection=True))
inverter.add(gdstk.Reference(sky130_fd_sc_hd__fill_1, (17.94,10.88)))
inverter.add(gdstk.Reference(sky130_ef_sc_hd__decap_1, (18.86,10.88)))
inverter.add(gdstk.Reference(sky130_fd_sc_hd__decap_6, (17.94,16.32), x_reflection=True))
inverter.add(gdstk.Reference(sky130_fd_sc_hd__fill_1, (20.7,16.32), x_reflection=True))
inverter.add(gdstk.Reference(sky130_fd_sc_hd__decap_8, (22.54,16.32), x_reflection=True))
inverter.add(gdstk.Reference(sky130_fd_sc_hd__tapvpwr, (18.4,10.88)))
inverter.add(gdstk.Reference(sky130_fd_sc_hd__inv_2, (22.54,16.32), rotation=pi))
inverter.add(gdstk.Reference(sky130_fd_sc_hd__decap_6, (24.38,10.88)))
inverter.add(gdstk.Reference(sky130_fd_sc_hd__fill_1, (27.14,10.88)))
inverter.add(gdstk.Reference(sky130_fd_sc_hd__decap_3, (26.22,16.32), x_reflection=True))
inverter.add(gdstk.Reference(sky130_fd_sc_hd__decap_3, (28.98,10.88), rotation=pi, x_reflection=True))
inverter.add(gdstk.Reference(sky130_fd_sc_hd__decap_3, (28.98,16.32), rotation=pi))
inverter.add(gdstk.Reference(sky130_ef_sc_hd__decap_1, (6.9,16.32)))
inverter.add(gdstk.Reference(sky130_fd_sc_hd__decap_3, (5.52,16.32)))
inverter.add(gdstk.Reference(sky130_ef_sc_hd__decap_1, (12.42,16.32)))
inverter.add(gdstk.Reference(sky130_fd_sc_hd__fill_1, (17.94,16.32)))
inverter.add(gdstk.Reference(sky130_ef_sc_hd__decap_1, (18.86,16.32)))
inverter.add(gdstk.Reference(sky130_fd_sc_hd__tapvpwr, (18.4,16.32)))
inverter.add(gdstk.Reference(sky130_fd_sc_hd__decap_6, (24.38,16.32)))
inverter.add(gdstk.Reference(sky130_fd_sc_hd__fill_1, (27.14,16.32)))
inverter.add(gdstk.Reference(sky130_fd_sc_hd__decap_3, (28.98,16.32), rotation=pi, x_reflection=True))
inverter.add(gdstk.Reference(sky130_ef_sc_hd__decap_1, (6.9,21.76), x_reflection=True))
inverter.add(gdstk.Reference(sky130_fd_sc_hd__decap_3, (5.52,21.76), x_reflection=True))
inverter.add(gdstk.Reference(sky130_ef_sc_hd__decap_1, (12.42,21.76), x_reflection=True))
inverter.add(gdstk.Reference(sky130_ef_sc_hd__decap_1, (17.94,21.76), x_reflection=True))
inverter.add(gdstk.Reference(sky130_fd_sc_hd__decap_8, (23.46,21.76), x_reflection=True))
inverter.add(gdstk.Reference(sky130_fd_sc_hd__fill_1, (27.14,21.76), x_reflection=True))
inverter.add(gdstk.Reference(sky130_fd_sc_hd__decap_3, (28.98,21.76), rotation=pi))
inverter.add(gdstk.Reference(sky130_ef_sc_hd__decap_1, (6.9,21.76)))
inverter.add(gdstk.Reference(sky130_fd_sc_hd__decap_3, (5.52,21.76)))
inverter.add(gdstk.Reference(sky130_ef_sc_hd__decap_1, (12.42,21.76)))
inverter.add(gdstk.Reference(sky130_fd_sc_hd__fill_1, (17.94,21.76)))
inverter.add(gdstk.Reference(sky130_ef_sc_hd__decap_1, (18.86,21.76)))
inverter.add(gdstk.Reference(sky130_fd_sc_hd__tapvpwr, (18.4,21.76)))
inverter.add(gdstk.Reference(sky130_fd_sc_hd__decap_6, (24.38,21.76)))
inverter.add(gdstk.Reference(sky130_fd_sc_hd__fill_1, (27.14,21.76)))
inverter.add(gdstk.Reference(sky130_fd_sc_hd__decap_3, (28.98,21.76), rotation=pi, x_reflection=True))
inverter.add(gdstk.Reference(sky130_ef_sc_hd__decap_1, (6.9,27.2), x_reflection=True))
inverter.add(gdstk.Reference(sky130_fd_sc_hd__decap_3, (5.52,27.2), x_reflection=True))
inverter.add(gdstk.Reference(sky130_ef_sc_hd__decap_1, (12.42,27.2), x_reflection=True))
inverter.add(gdstk.Reference(sky130_ef_sc_hd__decap_1, (17.94,27.2), x_reflection=True))
inverter.add(gdstk.Reference(sky130_fd_sc_hd__decap_8, (23.46,27.2), x_reflection=True))
inverter.add(gdstk.Reference(sky130_fd_sc_hd__fill_1, (27.14,27.2), x_reflection=True))
inverter.add(gdstk.Reference(sky130_fd_sc_hd__decap_3, (28.98,27.2), rotation=pi))
inverter.add(gdstk.Reference(sky130_ef_sc_hd__decap_1, (6.9,27.2)))
inverter.add(gdstk.Reference(sky130_ef_sc_hd__decap_1, (6.9,32.64), x_reflection=True))
inverter.add(gdstk.Reference(sky130_fd_sc_hd__decap_3, (5.52,27.2)))
inverter.add(gdstk.Reference(sky130_fd_sc_hd__decap_3, (5.52,32.64), x_reflection=True))
inverter.add(gdstk.Reference(sky130_ef_sc_hd__decap_1, (12.42,27.2)))
inverter.add(gdstk.Reference(sky130_ef_sc_hd__decap_1, (12.42,32.64), x_reflection=True))
inverter.add(gdstk.Reference(sky130_fd_sc_hd__fill_1, (17.94,27.2)))
inverter.add(gdstk.Reference(sky130_ef_sc_hd__decap_1, (18.86,27.2)))
inverter.add(gdstk.Reference(sky130_ef_sc_hd__decap_1, (17.94,32.64), x_reflection=True))
inverter.add(gdstk.Reference(sky130_fd_sc_hd__tapvpwr, (18.4,27.2)))
inverter.add(gdstk.Reference(sky130_fd_sc_hd__decap_6, (24.38,27.2)))
inverter.add(gdstk.Reference(sky130_fd_sc_hd__fill_1, (27.14,27.2)))
inverter.add(gdstk.Reference(sky130_fd_sc_hd__decap_8, (23.46,32.64), x_reflection=True))
inverter.add(gdstk.Reference(sky130_fd_sc_hd__fill_1, (27.14,32.64), x_reflection=True))
inverter.add(gdstk.Reference(sky130_fd_sc_hd__decap_3, (28.98,27.2), rotation=pi, x_reflection=True))
inverter.add(gdstk.Reference(sky130_fd_sc_hd__decap_3, (28.98,32.64), rotation=pi))
inverter.add(gdstk.Reference(sky130_ef_sc_hd__decap_1, (6.9,32.64)))
inverter.add(gdstk.Reference(sky130_fd_sc_hd__decap_3, (5.52,32.64)))
inverter.add(gdstk.Reference(sky130_ef_sc_hd__decap_1, (12.42,32.64)))
inverter.add(gdstk.Reference(sky130_fd_sc_hd__fill_1, (17.94,32.64)))
inverter.add(gdstk.Reference(sky130_ef_sc_hd__decap_1, (18.86,32.64)))
inverter.add(gdstk.Reference(sky130_fd_sc_hd__tapvpwr, (18.4,32.64)))
inverter.add(gdstk.Reference(sky130_fd_sc_hd__decap_6, (24.38,32.64)))
inverter.add(gdstk.Reference(sky130_fd_sc_hd__fill_1, (27.14,32.64)))
inverter.add(gdstk.Reference(sky130_fd_sc_hd__decap_3, (28.98,32.64), rotation=pi, x_reflection=True))
inverter.add(gdstk.Reference(sky130_ef_sc_hd__decap_1, (6.9,38.08), x_reflection=True))
inverter.add(gdstk.Reference(sky130_fd_sc_hd__decap_3, (5.52,38.08), x_reflection=True))
inverter.add(gdstk.Reference(sky130_ef_sc_hd__decap_1, (12.42,38.08), x_reflection=True))
inverter.add(gdstk.Reference(sky130_ef_sc_hd__decap_1, (17.94,38.08), x_reflection=True))
inverter.add(gdstk.Reference(sky130_fd_sc_hd__decap_8, (23.46,38.08), x_reflection=True))
inverter.add(gdstk.Reference(sky130_fd_sc_hd__fill_1, (27.14,38.08), x_reflection=True))
inverter.add(gdstk.Reference(sky130_fd_sc_hd__decap_3, (28.98,38.08), rotation=pi))
inverter.add(gdstk.Reference(sky130_ef_sc_hd__decap_1, (6.9,38.08)))
inverter.add(gdstk.Reference(sky130_fd_sc_hd__decap_3, (5.52,38.08)))
inverter.add(gdstk.Reference(sky130_ef_sc_hd__decap_1, (12.42,38.08)))
inverter.add(gdstk.Reference(sky130_fd_sc_hd__fill_1, (17.94,38.08)))
inverter.add(gdstk.Reference(sky130_ef_sc_hd__decap_1, (18.86,38.08)))
inverter.add(gdstk.Reference(sky130_fd_sc_hd__tapvpwr, (18.4,38.08)))
inverter.add(gdstk.Reference(sky130_fd_sc_hd__decap_6, (24.38,38.08)))
inverter.add(gdstk.Reference(sky130_fd_sc_hd__fill_1, (27.14,38.08)))
inverter.add(gdstk.Reference(sky130_fd_sc_hd__decap_3, (28.98,38.08), rotation=pi, x_reflection=True))
inverter.add(gdstk.Reference(sky130_ef_sc_hd__decap_1, (6.9,43.52), x_reflection=True))
inverter.add(gdstk.Reference(sky130_fd_sc_hd__decap_3, (5.52,43.52), x_reflection=True))
inverter.add(gdstk.Reference(sky130_ef_sc_hd__decap_1, (12.42,43.52), x_reflection=True))
inverter.add(gdstk.Reference(sky130_ef_sc_hd__decap_1, (17.94,43.52), x_reflection=True))
inverter.add(gdstk.Reference(sky130_fd_sc_hd__decap_8, (23.46,43.52), x_reflection=True))
inverter.add(gdstk.Reference(sky130_fd_sc_hd__fill_1, (27.14,43.52), x_reflection=True))
inverter.add(gdstk.Reference(sky130_fd_sc_hd__decap_3, (28.98,43.52), rotation=pi))
inverter.add(gdstk.Reference(sky130_ef_sc_hd__decap_1, (6.9,43.52)))
inverter.add(gdstk.Reference(sky130_fd_sc_hd__decap_3, (5.52,43.52)))
inverter.add(gdstk.Reference(sky130_ef_sc_hd__decap_1, (12.42,43.52)))
inverter.add(gdstk.Reference(sky130_fd_sc_hd__fill_1, (17.94,43.52)))
inverter.add(gdstk.Reference(sky130_ef_sc_hd__decap_1, (18.86,43.52)))
inverter.add(gdstk.Reference(sky130_fd_sc_hd__tapvpwr, (18.4,43.52)))
inverter.add(gdstk.Reference(sky130_fd_sc_hd__decap_4, (24.38,43.52)))
inverter.add(gdstk.Reference(sky130_fd_sc_hd__decap_3, (28.98,43.52), rotation=pi, x_reflection=True))
inverter.add(gdstk.Reference(sky130_fd_sc_hd__buf_1, (27.6,43.52), rotation=pi, x_reflection=True))
inverter.add(gdstk.Label('VGND', (17.25,43.52), layer=68, texttype=5))
inverter.add(gdstk.Label('VPWR', (17.25,46.24), layer=68, texttype=5))
inverter.add(gdstk.Label('in', (29.9,44.71), layer=68, texttype=5))
inverter.add(gdstk.Label('net1', (24.38,15.13), layer=68, texttype=5))
inverter.add(gdstk.Label('net2', (15.41,12.07), layer=68, texttype=5))
inverter.add(gdstk.Label('out', (0.23,7.77), layer=69, texttype=5))
inverter.add(gdstk.Label('VGND', (13.82,28.56), layer=71, texttype=5))
inverter.add(gdstk.Label('VPWR', (10.52,28.56), layer=71, texttype=5))
inverter.add(gdstk.Label('in', (32.43,55.12), layer=69, texttype=5))
inverter.add(gdstk.Label('out', (0.23,2), layer=69, texttype=5))

lib.write_gds('inverter.gds')
